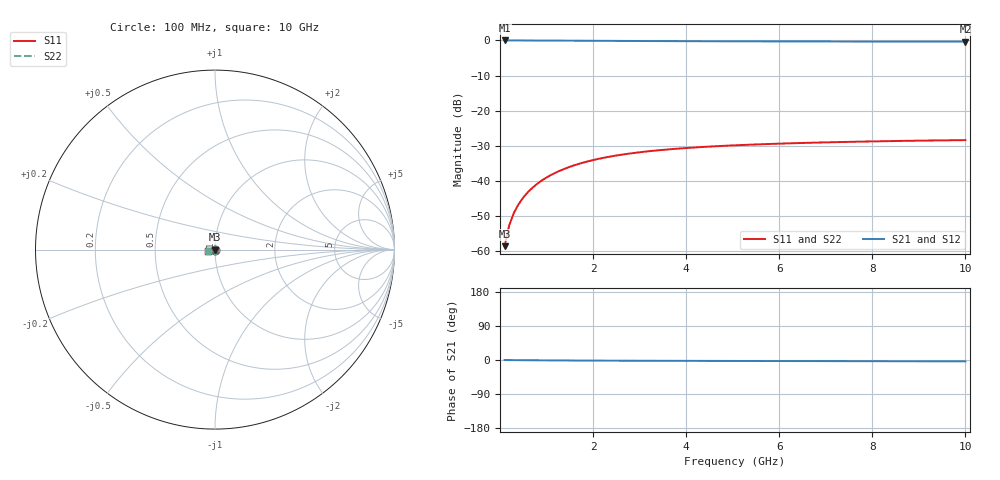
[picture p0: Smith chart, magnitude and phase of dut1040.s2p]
! Touchstone file exported from HFSS 2024.1.0
!  File:  C:/UserFiles/LocalFiles/RDL_TSV_Batchsim/temp_TSV1_1040_1780061602.aedt
!  Generated:  09:37:04 PM May 29, 2026
!  Design:  TSV1
!  Project:  temp_TSV1_1040_1780061602
!  Setup:  Setup1
!  Solution:  Sweep
! Variables:
!  dtsv = 14.79um
!  hbump = 3um
!  htsv = 50.93um
!  lrdl = 252.1521522um
!  p = 40
!  p1 = 54.29um
!  t = 500um
!  trdl = 3um
!  wrdl = 24.89489489um
# GHz S MA R 50.000000
! Terminal data exported
! Port[1] = TSV22_T1
! Port[2] = TSV22_T2
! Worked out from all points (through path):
!   100 points, 100 MHz to 10 GHz, reference 50 ohm
!   highest |S21| = 0.00 dB at 100 MHz (marker M1); lowest = -0.3 dB at 10 GHz (marker M2)
!   lowest |S11| = -58.7 dB at 100 MHz (marker M3), VSWR 1.00, Z = 50 - j0.117 ohm
!   |S11| at or under -10 dB: start of sweep to end of sweep
!   |S22| runs from -58.7 to -28.4 dB; largest |S21 - S12| = 5.3e-15
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0.1  0.001168 -88.8  0.9999 -0.1  0.9999 -0.1  0.001168 -88.8
! Gamma 0 0 0 0
! Port Impedance 50 0 50 0
0.2  0.002329 -92.2  0.9998 -0.2  0.9998 -0.2  0.002329 -92.2
0.3  0.003484 -94.6  0.9996 -0.3  0.9996 -0.3  0.003484 -94.6
0.4  0.004628 -96.7  0.9993 -0.4  0.9993 -0.4  0.004628 -96.7
0.5  0.005759 -98.7  0.9989 -0.5  0.9989 -0.5  0.005759 -98.7
0.6  0.006873 -100.7  0.9985 -0.6  0.9985 -0.6  0.006873 -100.7
0.7  0.007968 -102.5  0.998 -0.7  0.998 -0.7  0.007968 -102.5
0.8  0.00904 -104.4  0.9975 -0.8  0.9975 -0.8  0.00904 -104.4
0.9  0.01009 -106.2  0.9969 -0.9  0.9969 -0.9  0.01009 -106.2
1.1  0.0121 -109.6  0.9956 -1.0  0.9956 -1.0  0.0121 -109.6
1.4  0.01491 -114.5  0.9935 -1.2  0.9935 -1.2  0.01491 -114.5
1.6  0.01663 -117.6  0.992 -1.4  0.992 -1.4  0.01663 -117.6
1.8  0.01822 -120.5  0.9904 -1.5  0.9904 -1.5  0.01822 -120.5
2.1  0.02038 -124.5  0.9882 -1.6  0.9882 -1.6  0.02038 -124.5
2.5  0.02288 -129.4  0.9853 -1.8  0.9853 -1.8  0.02288 -129.4
2.9  0.02498 -133.7  0.9826 -2.0  0.9826 -2.0  0.02498 -133.7
3.4  0.02716 -138.3  0.9796 -2.1  0.9796 -2.1  0.02716 -138.3
4.2  0.02986 -144.5  0.9755 -2.3  0.9755 -2.3  0.02986 -144.5
5.1  0.0321 -150.1  0.9719 -2.6  0.9719 -2.6  0.0321 -150.1
6.7  0.03484 -157.7  0.9673 -2.9  0.9673 -2.9  0.03484 -157.7
8.4  0.03675 -164.0  0.9641 -3.2  0.9641 -3.2  0.03675 -164.0
10  0.03798 -169.0  0.962 -3.6  0.962 -3.6  0.03798 -169.0
